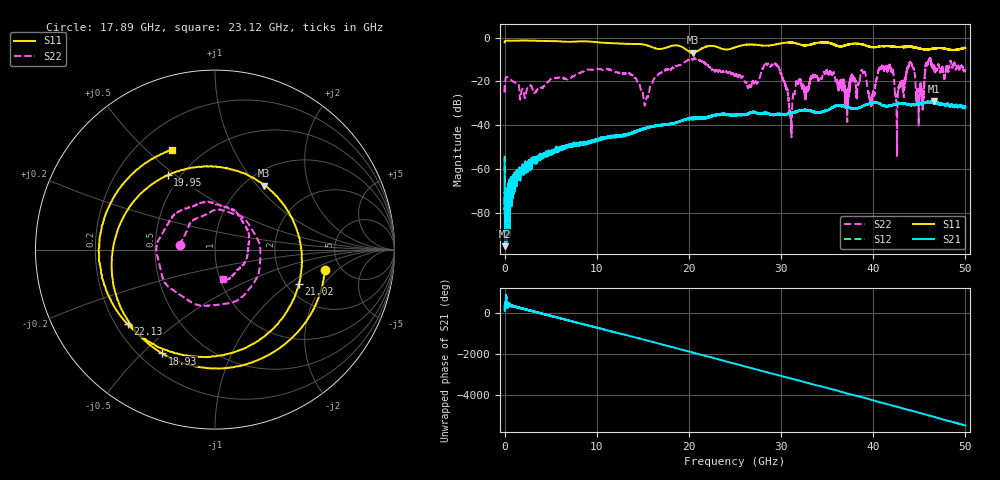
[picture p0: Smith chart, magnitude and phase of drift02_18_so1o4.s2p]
!Created with skrf (http://scikit-rf.org).
# Hz S RI R 50.0
!freq ReS11 ImS11 ReS21 ImS21 ReS12 ImS12 ReS22 ImS22
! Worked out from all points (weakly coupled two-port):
!   10001 points, 300 kHz to 50 GHz, reference 50 ohm
!   highest |S21| = -29.09 dB at 46.62 GHz (marker M1); lowest = -95.1 dB at 80.3 MHz (marker M2)
!   lowest |S11| = -6.9 dB at 20.45 GHz (marker M3), VSWR 2.64, Z = 61 + j54.6 ohm
!   |S11| at or under -10 dB: nowhere
!   |S22| runs from -54.0 to -9.2 dB; largest |S21 - S12| = 0.0032
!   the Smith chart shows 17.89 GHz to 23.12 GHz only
!   S11 on the Smith chart (normalised r, x): 17.89 GHz: 3.75, -1.38; 18.93 GHz: 0.29, -0.57; 19.95 GHz: 0.43, +0.47; 21.02 GHz: 2.34, -1.18; 22.13 GHz: 0.25, -0.35; 23.12 GHz: 0.34, +0.60
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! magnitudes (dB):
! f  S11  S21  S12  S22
! 300 kHz  -2.1  -55.2  -53.8  -21.7
! 80.3 MHz  -1.5  -95.1  -89.5  -19.2
! 8.335 GHz  -1.7  -48.3  -48.2  -15.7
! 15.31 GHz  -3.3  -41.2  -41.4  -29.3
! 16.67 GHz  -5.2  -40.0  -40.1  -16.9
! 17.89 GHz  -4.1  -39.5  -39.4  -14.0
! 18.93 GHz  -3.7  -38.4  -38.4  -12.5
! 19.95 GHz  -6.2  -37.1  -37.0  -10.2
! 20.45 GHz  -6.9  -36.3  -36.4  -10.0
! 21.02 GHz  -5.9  -37.0  -36.6  -9.9
! 22.13 GHz  -3.9  -36.3  -36.2  -13.0
! 23.12 GHz  -4.4  -35.1  -35.2  -15.3
! 25 GHz  -4.5  -35.7  -35.5  -17.4
! 29.51 GHz  -3.1  -34.8  -35.2  -12.5
! 31.04 GHz  -2.3  -34.5  -34.7  -34.3
! 33.34 GHz  -3.1  -33.5  -33.6  -17.7
! 38.91 GHz  -3.2  -31.1  -31.3  -16.2
! 39.76 GHz  -4.3  -29.9  -30.0  -29.4
! 41.67 GHz  -3.9  -30.9  -31.1  -13.1
! 42.57 GHz  -4.3  -30.4  -30.3  -45.0
! 46.62 GHz  -4.9  -29.1  -29.6  -14.2
! 50 GHz  -4.7  -31.6  -31.9  -15.3
